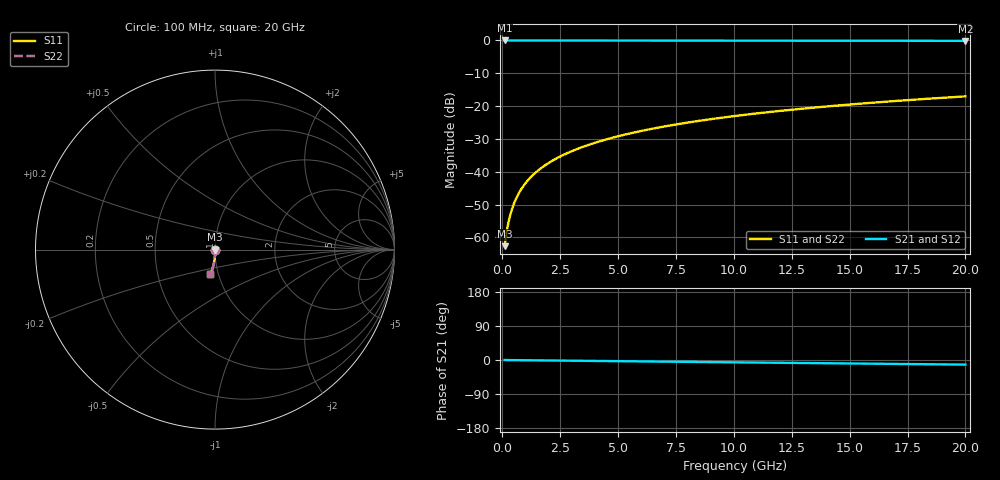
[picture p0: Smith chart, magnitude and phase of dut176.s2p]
! Touchstone file exported from HFSS 2026.1.0
!  File:  C:/ffzhzh/LocalFiles/Ansys_Project_Files/temp_train_TSV_176_1782991174_45328.aedt
!  Generated:  07:21:05 PM Jul  2, 2026
!  Design:  TSV
!  Project:  temp_train_TSV_176_1782991174_45328
! Variables:
!  h_bsmrdl = 2um
!  h_ox = 20um
!  h_rdl = 5um
!  h_sub = 98.72um
!  h_tmrdl = 5um
!  h_tsv = 98.72um
!  h_via = 3um
!  l_bsmrdl = 300um
!  l_sub = 410.9um
!  l_tmrdl = 200um
!  m_sub = 200um
!  pitch = 12.72um
!  r_tsv = 5.45um
!  s_tmrdl = 10um
!  w_bsmrdl = 18um
!  w_sub = 500um
!  w_tmrdl = 12um
!  x_tsv_center1 = 206um
!  x_tsv_center2 = 524um
!  x_tsv_center3 = 736um
!  x_tsv_center4 = 1054um
!  x_tsv_center5 = 1266um
!  x_tsv_center6 = 1584um
# GHz S MA R 50.000000
! Terminal data exported
! Port[1] = TSV1_1_T1
! Port[2] = TSV1_1_T2
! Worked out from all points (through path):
!   200 points, 100 MHz to 20 GHz, reference 50 ohm
!   highest |S21| = 0.00 dB at 100 MHz (marker M1); lowest = -0.1 dB at 20 GHz (marker M2)
!   group delay of S21, straight-line fit = 1.68 ps
!   lowest |S11| = -62.7 dB at 100 MHz (marker M3), VSWR 1.00, Z = 50 - j0.0592 ohm
!   |S11| at or under -10 dB: start of sweep to end of sweep
!   |S22| runs from -62.7 to -17.0 dB; largest |S21 - S12| = 3e-15
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0.1  0.0007368 -53.4  0.9996 -0.1  0.9996 -0.1  0.0007368 -53.4
! Gamma 0 0 0 0
! Port Impedance 50 0 50 0
0.2  0.001299 -68.0  0.9995 -0.1  0.9995 -0.1  0.001299 -68.0
0.3  0.001924 -73.5  0.9994 -0.2  0.9994 -0.2  0.001924 -73.5
0.4  0.00258 -76.5  0.9994 -0.3  0.9994 -0.3  0.00258 -76.5
0.5  0.003254 -78.5  0.9993 -0.3  0.9993 -0.3  0.003254 -78.5
0.7  0.004625 -81.1  0.9992 -0.5  0.9992 -0.5  0.004625 -81.1
0.8  0.005315 -82.0  0.9992 -0.5  0.9992 -0.5  0.005315 -82.0
1  0.006698 -83.4  0.9991 -0.6  0.9991 -0.6  0.006698 -83.4
1.2  0.008082 -84.4  0.9991 -0.8  0.9991 -0.8  0.008082 -84.4
1.4  0.009467 -85.2  0.999 -0.9  0.999 -0.9  0.009467 -85.2
1.7  0.01155 -86.1  0.9989 -1.1  0.9989 -1.1  0.01155 -86.1
2  0.01363 -86.8  0.9988 -1.3  0.9988 -1.3  0.01363 -86.8
2.7  0.01851 -87.9  0.9986 -1.7  0.9986 -1.7  0.01851 -87.9
3.5  0.02412 -88.8  0.9983 -2.2  0.9983 -2.2  0.02412 -88.8
4.2  0.02907 -89.4  0.998 -2.6  0.998 -2.6  0.02907 -89.4
5  0.03475 -90.1  0.9976 -3.1  0.9976 -3.1  0.03475 -90.1
6.8  0.04758 -91.6  0.9967 -4.2  0.9967 -4.2  0.04758 -91.6
8.3  0.05829 -92.7  0.9959 -5.1  0.9959 -5.1  0.05829 -92.7
10.1  0.07112 -94.1  0.9948 -6.2  0.9948 -6.2  0.07112 -94.1
13.4  0.09454 -96.3  0.9924 -8.2  0.9924 -8.2  0.09454 -96.3
16.7  0.1178 -98.5  0.9895 -10.2  0.9895 -10.2  0.1178 -98.5
20  0.1408 -100.6  0.9861 -12.1  0.9861 -12.1  0.1408 -100.6
